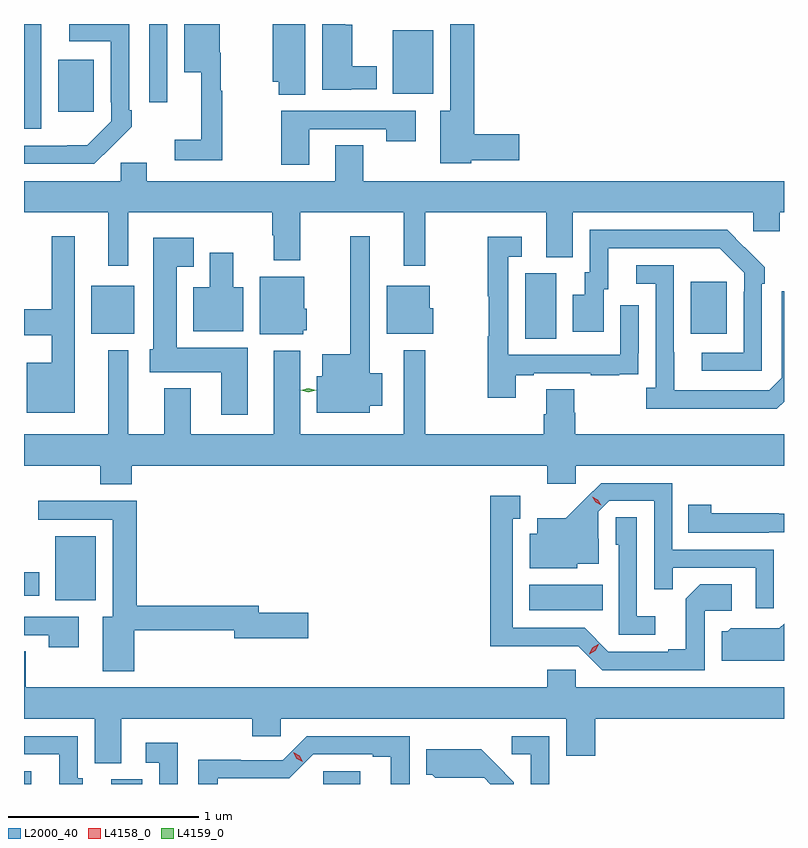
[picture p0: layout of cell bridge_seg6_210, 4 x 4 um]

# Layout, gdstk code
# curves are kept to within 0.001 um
import gdstk
lib = gdstk.Library(unit=1e-6, precision=1e-09)
def R(c, l, rs):  # rectangles x0, y0, x1, y1
    for r in rs: c.add(gdstk.rectangle(r[:2], r[2:], *l))
def P(c, l, *ps):  # polygons
    for p in ps: c.add(gdstk.Polygon(p, *l))
L2000_40 = (2000, 40)
L4158_0 = (4158, 0)
L4159_0 = (4159, 0)

bridge_seg6_210 = lib.new_cell('bridge_seg6_210')
R(bridge_seg6_210, L2000_40, [(132.713,976.296,132.751,976.362), (133.172,976.296,133.336,976.32), (134.289,976.296,134.482,976.362), (135.371,977.21,135.758,977.344), (132.878,977.264,133.09,977.599), (132.713,977.288,132.793,977.41), (135.35,978.64,135.514,978.984), (133.067,978.665,133.294,978.919), (136.223,978.665,136.411,978.94), (132.893,979.833,133.081,980.107), (133.371,979.884,133.467,980.296), (134.654,979.928,134.866,980.263)])
P(bridge_seg6_210, L2000_40, [(133.756,979.946),(133.748,979.946),(133.748,980.146),(133.744,980.146),(133.744,980.296),(133.556,980.296),(133.556,980.042),(133.646,980.042),(133.646,979.687),(133.506,979.687),(133.506,979.578),(133.756,979.578)],
  [(134.194,980.296),(134.021,980.296),(134.021,979.991),(134.053,979.991),(134.053,979.924),(134.194,979.924)],
  [(132.804,980.203),(132.805,980.203),(132.805,980.296),(132.713,980.296),(132.713,979.746),(132.804,979.746)],
  [(135.066,979.58),(135.319,979.58),(135.319,979.715),(135.083,979.715),(135.083,980.296),(134.957,980.296),(134.957,979.84),(134.903,979.84),(134.903,979.562),(135.066,979.562)],
  [(133.175,979.651),(133.176,979.65),(133.281,979.755),(133.281,979.843),(133.266,979.843),(133.266,980.296),(132.951,980.296),(132.951,980.205),(133.17,980.205),(133.17,979.885),(133.173,979.885),(133.173,979.785),(133.045,979.657),(132.713,979.656),(132.713,979.56),(133.084,979.56)],
  [(134.436,979.952),(134.569,979.952),(134.569,980.074),(134.44,980.074),(134.44,980.293),(134.404,980.293),(134.404,980.296),(134.282,980.296),(134.282,979.949),(134.436,979.949)],
  [(134.215,979.743),(134.62,979.743),(134.62,979.68),(134.776,979.68),(134.776,979.839),(134.068,979.839),(134.068,979.554),(134.215,979.554)],
  [(134.499,979.658),(134.351,979.658),(134.351,979.468),(133.36,979.468),(133.36,979.566),(133.221,979.566),(133.221,979.468),(132.713,979.468),(132.713,979.304),(133.157,979.304),(133.157,979.023),(133.261,979.023),(133.261,979.304),(134.02,979.304),(134.02,979.184),(134.027,979.184),(134.027,979.052),(134.167,979.052),(134.167,979.304),(134.711,979.304),(134.711,979.023),(134.825,979.023),(134.825,979.304),(135.461,979.304),(135.461,979.069),(135.601,979.069),(135.601,979.304),(136.551,979.304),(136.551,979.206),(136.69,979.206),(136.69,979.304),(136.713,979.304),(136.713,979.468),(134.499,979.468)],
  [(136.596,978.929),(136.611,978.929),(136.611,979.017),(136.414,979.212),(135.69,979.212),(135.69,978.99),(135.665,978.99),(135.665,978.871),(135.602,978.871),(135.602,978.675),(135.763,978.675),(135.763,978.9),(135.787,978.9),(135.787,979.116),(136.375,979.116),(136.503,978.987),(136.503,978.887),(136.5,978.887),(136.5,978.567),(136.281,978.567),(136.281,978.471),(136.596,978.471)],
  [(132.979,979.18),(132.858,979.18),(132.858,978.794),(132.713,978.794),(132.713,978.659),(132.858,978.659),(132.858,978.514),(132.728,978.514),(132.728,978.251),(132.979,978.251)],
  [(134.533,978.287),(134.599,978.287),(134.599,978.458),(134.533,978.458),(134.533,979.18),(134.429,979.18),(134.429,978.559),(134.282,978.559),(134.282,978.441),(134.255,978.441),(134.255,978.251),(134.533,978.251)],
  [(135.301,978.447),(135.397,978.447),(135.397,978.459),(135.697,978.459),(135.697,978.447),(135.845,978.447),(135.845,978.453),(135.947,978.453),(135.947,978.562),(135.948,978.562),(135.948,978.817),(135.852,978.817),(135.852,978.555),(135.261,978.555),(135.261,979.071),(135.334,979.071),(135.334,979.177),(135.153,979.177),(135.153,978.864),(135.16,978.864),(135.16,978.652),(135.153,978.652),(135.153,978.33),(135.301,978.33)],
  [(133.891,978.592),(133.516,978.592),(133.516,979.019),(133.606,979.019),(133.606,979.171),(133.394,979.171),(133.394,978.585),(133.376,978.585),(133.376,978.464),(133.751,978.464),(133.751,978.24),(133.891,978.24)],
  [(133.867,978.91),(133.813,978.91),(133.813,979.093),(133.691,979.093),(133.691,978.91),(133.604,978.91),(133.604,978.68),(133.867,978.68)],
  [(136.713,978.309),(136.713,978.889),(136.701,978.889),(136.701,978.435),(136.635,978.369),(136.135,978.369),(136.134,979.026),(135.936,979.026),(135.936,978.93),(136.038,978.93),(136.038,978.382),(135.987,978.382),(135.987,978.272),(136.676,978.272)],
  [(134.184,978.684),(134.2,978.684),(134.2,978.798),(134.188,978.798),(134.188,978.967),(133.955,978.967),(133.955,978.662),(134.184,978.662)],
  [(134.866,978.801),(134.848,978.801),(134.848,978.919),(134.621,978.919),(134.621,978.665),(134.866,978.665)],
  [(135.467,977.877),(135.618,977.877),(135.618,977.972),(136.713,977.972),(136.713,978.136),(135.614,978.136),(135.614,978.249),(135.609,978.249),(135.609,978.374),(135.461,978.374),(135.461,978.242),(135.449,978.242),(135.449,978.136),(134.825,978.136),(134.825,978.58),(134.711,978.58),(134.711,978.136),(134.167,978.136),(134.167,978.577),(134.027,978.577),(134.027,978.136),(133.591,978.136),(133.591,978.379),(133.451,978.379),(133.451,978.136),(133.261,978.136),(133.261,978.58),(133.157,978.58),(133.157,978.136),(132.713,978.136),(132.713,977.972),(133.115,977.972),(133.115,977.873),(133.28,977.873),(133.28,977.972),(135.467,977.972)],
  [(136.659,977.529),(136.125,977.529),(136.125,977.88),(135.752,977.88),(135.565,977.695),(135.413,977.695),(135.413,977.614),(135.374,977.614),(135.374,977.432),(135.624,977.432),(135.624,977.456),(135.739,977.456),(135.739,977.588),(135.735,977.588),(135.735,977.73),(135.792,977.787),(136.029,977.787),(136.029,977.32),(136.127,977.32),(136.127,977.433),(136.563,977.433),(136.563,977.22),(136.659,977.22)],
  [(136.296,977.208),(136.438,977.208),(136.438,977.348),(136.273,977.348),(136.197,977.272),(136.197,977.005),(136.103,977.005),(136.103,976.992),(135.789,976.992),(135.663,977.118),(135.286,977.118),(135.286,977.691),(135.325,977.691),(135.325,977.812),(135.168,977.812),(135.168,977.021),(135.63,977.022),(135.756,976.896),(136.296,976.896)],
  [(133.294,977.106),(133.82,977.106),(133.82,977.063),(134.209,977.063),(134.209,977.198),(133.948,977.198),(133.948,977.234),(133.307,977.234),(133.307,977.786),(132.789,977.786),(132.789,977.688),(133.181,977.688),(133.181,977.176),(133.127,977.176),(133.127,976.89),(133.294,976.89)],
  [(136.634,977.622),(136.713,977.622),(136.713,977.719),(136.685,977.719),(136.685,977.72),(136.329,977.72),(136.329,977.767),(136.21,977.767),(136.21,977.619),(136.634,977.619)],
  [(136.036,977.179),(135.939,977.179),(135.939,977.699),(135.828,977.699),(135.828,977.556),(135.843,977.556),(135.843,977.082),(136.036,977.082)],
  [(133,977.175),(132.713,977.175),(132.713,977.079),(132.844,977.079),(132.844,977.016),(133,977.016)],
  [(136.713,977.139),(136.689,977.115),(136.566,977.115),(136.566,977.116),(136.432,977.116),(136.416,977.1),(136.385,977.1),(136.385,976.946),(136.713,976.946)],
  [(133.225,976.64),(133.913,976.64),(133.913,976.547),(134.064,976.547),(134.064,976.64),(135.566,976.64),(135.566,976.446),(135.719,976.446),(135.719,976.64),(136.713,976.64),(136.713,976.804),(135.618,976.804),(135.618,976.897),(135.467,976.897),(135.467,976.804),(132.723,976.804),(132.723,976.994),(132.713,976.994),(132.713,976.64),(133.085,976.64),(133.085,976.405),(133.225,976.405)],
  [(135.477,976.548),(135.279,976.548),(135.279,976.452),(135.381,976.452),(135.381,976.296),(135.477,976.296)],
  [(133.732,976.326),(134.109,976.326),(134.235,976.452),(134.549,976.452),(134.549,976.44),(134.643,976.44),(134.643,976.296),(134.742,976.296),(134.742,976.548),(134.202,976.548),(134.076,976.422),(133.854,976.422),(133.854,976.424),(133.631,976.424),(133.631,976.296),(133.732,976.296)],
  [(133.021,976.326),(132.996,976.326),(132.996,976.548),(132.713,976.548),(132.713,976.452),(132.899,976.452),(132.899,976.296),(133.021,976.296)],
  [(133.521,976.513),(133.353,976.513),(133.353,976.407),(133.425,976.407),(133.425,976.296),(133.521,976.296)],
  [(135.291,976.306),(135.199,976.399),(135.119,976.48),(134.831,976.48),(134.831,976.344),(134.862,976.344),(134.878,976.328),(135.012,976.328),(135.012,976.329),(135.135,976.329),(135.168,976.296),(135.291,976.296)])
P(bridge_seg6_210, L4158_0, [(134.181,976.412),(134.149,976.43),(134.131,976.462),(134.131,976.462),(134.131,976.462),(134.163,976.444),(134.181,976.412),(134.181,976.412)],
  [(135.751,977.763),(135.721,977.778),(135.703,977.807),(135.703,977.808),(135.703,977.808),(135.734,977.793),(135.752,977.764),(135.752,977.763)],
  [(135.687,976.98),(135.687,976.98),(135.705,977.012),(135.736,977.031),(135.737,977.031),(135.737,977.031),(135.719,976.998),(135.687,976.98)])
P(bridge_seg6_210, L4159_0, [(134.21,978.358),(134.169,978.368),(134.168,978.368),(134.169,978.368),(134.21,978.378),(134.251,978.368),(134.251,978.368),(134.251,978.368)])

lib.write_gds('bridge_seg6_210.gds')
